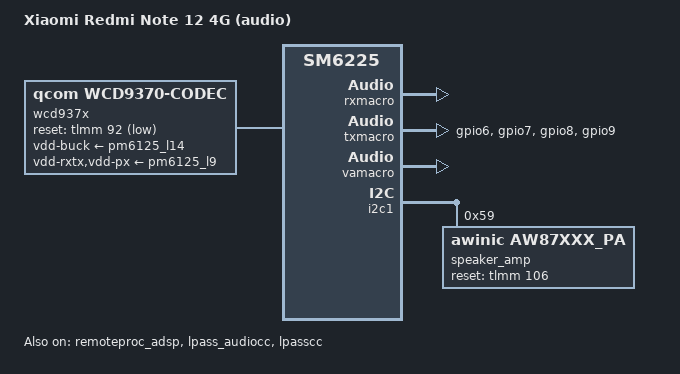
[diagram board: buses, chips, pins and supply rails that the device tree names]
// SPDX-License-Identifier: GPL-2.0-only
/*
 * sm6225-xiaomi-tapas with audio: the ADSP (AudioReach), the LPASS RX/TX/VA
 * macros, the WCD9370 codec on SoundWire and the aw87xxx speaker amplifier,
 * as on the sm6225-mainline spes board (same codec and LPASS pins), with the
 * tapas amplifier and mic bias from the stock device tree.
 *
 * Unlike spes, the tapas ADSP firmware (Android 13 vendor) is AudioReach
 * (SPF): stock talks to it over GPR on the "adsp_apps" channel, and an APR
 * "apr_audio_svc" client never comes up. So the APR services of sm6225.dtsi
 * are replaced by q6apm/q6prm as on qcs6490-audioreach.dtsi; the front ends
 * and DSP graphs come from qcom/sm4250/SM6225-Tapas-tplg.bin (topology/).
 * Kept apart until it is known to come up without hanging the boot.
 */
#include <dt-bindings/soc/qcom,gpr.h>
#include <dt-bindings/sound/qcom,q6afe.h>
#include <dt-bindings/sound/qcom,q6dsp-lpass-ports.h>
#include "sm6225-xiaomi-tapas.dts"

/ {
	model = "Xiaomi Redmi Note 12 4G (audio)";

	sound {
		compatible = "qcom,qrb4210-rb2-sndcard";
		model = "SM6225-Tapas";
		audio-routing =
				"AMIC1", "MIC BIAS1",
				"AMIC2", "MIC BIAS2",
				"AMIC3", "MIC BIAS3",

				"IN1_HPHL", "HPHL_OUT",
				"IN2_HPHR", "HPHR_OUT",
				"IN3_AUX", "AUX_OUT",

				"VA DMIC0", "VA MIC BIAS1",
				"VA DMIC1", "VA MIC BIAS1",
				"VA DMIC2", "VA MIC BIAS3",
				"VA DMIC3", "VA MIC BIAS3",

				"VA SWR_MIC0", "ADC1_OUTPUT",
				"VA SWR_MIC4", "ADC2_OUTPUT",
				"VA SWR_MIC5", "ADC3_OUTPUT",

				"TX SWR_INPUT0", "ADC1_OUTPUT",
				"TX SWR_INPUT4", "ADC2_OUTPUT",

				"Speaker IN", "AUX";

		aux-devs = <&speaker_amp>;

		/* MultiMedia1-3 (hw:0,0-2) come from the topology */

		wcd-playback-dai-link {
			link-name = "WCD Playback";

			cpu {
				sound-dai = <&q6apmbedai RX_CODEC_DMA_RX_0>;
			};

			platform {
				sound-dai = <&q6apm>;
			};

			codec {
				sound-dai = <&wcd937x 0>,
				<&swr1 0>,
				<&rxmacro 0>;
			};
		};


		wcd-capture-dai-link {
			link-name = "WCD Capture";

			cpu {
				sound-dai = <&q6apmbedai TX_CODEC_DMA_TX_3>;
			};

			platform {
				sound-dai = <&q6apm>;
			};

			codec {
				sound-dai = <&wcd937x 1>,
				<&swr0 0>,
				<&txmacro 0>;
			};
		};

		va-dai-link {
			link-name = "VA Capture";

			cpu {
				sound-dai = <&q6apmbedai VA_CODEC_DMA_TX_0>;
			};

			platform {
				sound-dai = <&q6apm>;
			};

			codec {
				sound-dai = <&vamacro 0>;
			};
		};
	};
};

&soc {
	rxmacro: codec@a600000 {
		compatible = "qcom,sm6115-lpass-rx-macro";
		reg = <0x0 0x0a600000 0x0 0x1000>;
		#clock-cells = <0>;
		#sound-dai-cells = <1>;
		clocks = <&q6prmcc LPASS_CLK_ID_RX_CORE_MCLK LPASS_CLK_ATTRIBUTE_COUPLE_NO>,
			 <&q6prmcc LPASS_CLK_ID_RX_CORE_NPL_MCLK LPASS_CLK_ATTRIBUTE_COUPLE_NO>,
			 <&q6prmcc LPASS_HW_DCODEC_VOTE LPASS_CLK_ATTRIBUTE_COUPLE_NO>,
			 <&vamacro>;
		clock-names = "mclk", "npl", "dcodec", "fsgen";
		clock-output-names = "mclk";
		status = "okay";
	};

	txmacro: codec@a620000 {
		compatible = "qcom,sm6115-lpass-tx-macro";
		reg = <0x0 0x0a620000 0x0 0x1000>;
		qcom,dmic-sample-rate = <600000>;
		#clock-cells = <0>;
		#sound-dai-cells = <1>;
		pinctrl-0 = <&lpi_dmic01_active &lpi_dmic23_active>;
		pinctrl-names = "default";
		clocks = <&q6prmcc LPASS_CLK_ID_TX_CORE_MCLK LPASS_CLK_ATTRIBUTE_COUPLE_NO>,
			 <&q6prmcc LPASS_CLK_ID_TX_CORE_NPL_MCLK LPASS_CLK_ATTRIBUTE_COUPLE_NO>,
			 <&q6prmcc LPASS_HW_DCODEC_VOTE LPASS_CLK_ATTRIBUTE_COUPLE_NO>,
			 <&vamacro>;
		clock-names = "mclk", "npl", "dcodec", "fsgen";
		clock-output-names = "mclk";
		status = "okay";
	};

	vamacro: codec@a730000 {
		compatible = "qcom,sm6115-lpass-va-macro";
		reg = <0x0 0x0a730000 0x0 0x1000>;
		qcom,dmic-sample-rate = <600000>;
		#clock-cells = <0>;
		#sound-dai-cells = <1>;
		clocks = <&q6prmcc LPASS_CLK_ID_TX_CORE_MCLK LPASS_CLK_ATTRIBUTE_COUPLE_NO>,
			 <&q6prmcc LPASS_HW_DCODEC_VOTE LPASS_CLK_ATTRIBUTE_COUPLE_NO>,
			 <&q6prmcc LPASS_CLK_ID_TX_CORE_NPL_MCLK LPASS_CLK_ATTRIBUTE_COUPLE_NO>;
		clock-names = "mclk", "dcodec", "npl";
		clock-output-names = "fsgen";
		status = "okay";
	};

	lpass_audiocc: clock-controller@a6a9000 {
		compatible = "qcom,sm6115-lpassaudiocc";
		reg = <0x0 0x0a6a9000 0x0 0x1000>;
		#reset-cells = <1>;

		status = "okay";
	};

	lpasscc: clock-controller@a7ec000 {
		compatible = "qcom,sm6115-lpasscc";
		reg = <0x0 0x0a7ec000 0x0 0x1000>;
		#reset-cells = <1>;

		status = "okay";
	};

	wcd937x: codec {
		compatible = "qcom,wcd9370-codec";
		pinctrl-names = "default";
		pinctrl-0 = <&wcd_reset_n>;
		reset-gpios = <&tlmm 92 GPIO_ACTIVE_LOW>;
		vdd-buck-supply = <&pm6125_l14>;
		vdd-rxtx-supply = <&pm6125_l9>;
		vdd-px-supply = <&pm6125_l9>;
		qcom,micbias1-microvolt = <2700000>;
		qcom,micbias2-microvolt = <2700000>;
		qcom,micbias3-microvolt = <2700000>;
		qcom,rx-device = <&wcd937x_rx>;
		qcom,tx-device = <&wcd937x_tx>;
		#sound-dai-cells = <1>;
	};

	swr0: soundwire@a740000 {
		compatible = "qcom,soundwire-v1.6.0";
		reg = <0x0 0x0a740000 0x0 0x2000>;
		interrupts = <GIC_SPI 296 IRQ_TYPE_LEVEL_HIGH>,
		<GIC_SPI 79 IRQ_TYPE_LEVEL_HIGH>;

		pinctrl-0 = <&lpi_swr_tx_active>;
		pinctrl-names = "default";

		clocks = <&txmacro>;
		clock-names = "iface";

		resets = <&lpasscc 0>;
		reset-names = "swr_audio_cgcr";

		label = "VA_TX";

		qcom,din-ports = <3>;
		qcom,dout-ports = <0>;

		qcom,ports-sinterval-low =
		/bits/ 8 <0x03 0x03 0x03>;
		qcom,ports-offset1 =
		/bits/ 8 <0x01 0x02 0x01>;
		qcom,ports-offset2 =
		/bits/ 8 <0x00 0x00 0x00>;
		qcom,ports-hstart =
		/bits/ 8 <0xff 0xff 0xff>;
		qcom,ports-hstop =
		/bits/ 8 <0xff 0xff 0xff>;
		qcom,ports-word-length =
		/bits/ 8 <0xff 0xff 0xff>;
		qcom,ports-block-pack-mode =
		/bits/ 8 <0xff 0xff 0xff>;
		qcom,ports-block-group-count =
		/bits/ 8 <0xff 0xff 0xff>;
		qcom,ports-lane-control =
		/bits/ 8 <0x00 0x00 0x00>;

		#sound-dai-cells = <1>;
		#address-cells = <2>;
		#size-cells = <0>;

		wcd937x_tx: codec@0,3 {
			compatible = "sdw20217010a00";
			reg = <0 3>;

			/*
			 * WCD9370 TX Port 1 (ADC1)               <=> SWR Port 1
			 * WCD9370 TX Port 2 (ADC2, 3)            <=> SWR Port 1
			 * WCD9370 TX Port 3 (DMIC0,1,2,3 & MBHC) <=> SWR Port 2
			 * WCD9370 TX Port 4 (DMIC4,5,6,7)        <=> SWR Port 3
			 */
			qcom,tx-port-mapping = <1 1 2 3>;

			/*
			 * Static channel mapping between slave and master tx
			 * port channels, in the order of slave port channels
			 * which is adc1, adc2, adc3, mic0, dmic1, mbhc,
			 * dmic2, dmic3, dmic4, dmic5, dmic6, dmic7.
			 */
			qcom,tx-channel-mapping = /bits/ 8
			<1 2 1 1 2 3 3 4 1 2 3 4>;
		};
	};

	swr1: soundwire@a610000 {
		compatible = "qcom,soundwire-v1.6.0";
		reg = <0x0 0x0a610000 0x0 0x2000>;
		interrupts = <GIC_SPI 297 IRQ_TYPE_LEVEL_HIGH>;

		pinctrl-0 = <&lpi_swr_rx_active>;
		pinctrl-names = "default";

		clocks = <&rxmacro>;
		clock-names = "iface";

		resets = <&lpass_audiocc 0>;
		reset-names = "swr_audio_cgcr";

		label = "RX";

		qcom,din-ports = <0>;
		qcom,dout-ports = <5>;

		qcom,ports-sinterval-low =
		/bits/ 8 <0x03 0x1f 0x1f 0x07 0x00>;
		qcom,ports-offset1 =
		/bits/ 8 <0x00 0x00 0x0b 0x01 0x00>;
		qcom,ports-offset2 =
		/bits/ 8 <0x00 0x00 0x0b 0x00 0x00>;
		qcom,ports-hstart =
		/bits/ 8 <0xff 0x03 0xff 0xff 0xff>;
		qcom,ports-hstop =
		/bits/ 8 <0xff 0x06 0xff 0xff 0xff>;
		qcom,ports-word-length =
		/bits/ 8 <0x01 0x07 0x04 0xff 0xff>;
		qcom,ports-block-pack-mode =
		/bits/ 8 <0xff 0x00 0x01 0xff 0xff>;
		qcom,ports-block-group-count =
		/bits/ 8 <0xff 0xff 0xff 0xff 0x00>;
		qcom,ports-lane-control =
		/bits/ 8 <0x01 0x00 0x00 0x00 0x00>;

		#sound-dai-cells = <1>;
		#address-cells = <2>;
		#size-cells = <0>;

		wcd937x_rx: codec@0,4 {
			compatible = "sdw20217010a00";
			reg = <0 4>;
			qcom,rx-port-mapping = <1 2 3 4 5>;
			qcom,rx-channel-mapping = /bits/ 8
			<1 2 1 1 2 1 1 2>;
		};
	};
};

&lpass_tlmm {
	lpi_swr_tx_active: lpi-swr-tx-active-state {
		clk-pins {
			pins = "gpio0";
			function = "swr_tx_clk";
			bias-disable;
			drive-strength = <10>;
			slew-rate = <3>;
		};

		data-pins {
			pins = "gpio1", "gpio2";
			function = "swr_tx_data";
			bias-bus-hold;
			drive-strength = <10>;
			slew-rate = <3>;
		};
	};

	lpi_swr_tx_sleep: lpi-swr-tx-sleep-state {
		clk-pins {
			pins = "gpio0";
			function = "swr_tx_clk";
			bias-pull-down;
			drive-strength = <10>;
			input-enable;
		};

		data-pins {
			pins = "gpio1", "gpio2";
			function = "swr_tx_data";
			bias-bus-hold;
			drive-strength = <10>;
			input-enable;
		};
	};

	lpi_swr_rx_active: lpi-swr-rx-active-state {
		clk-pins {
			pins = "gpio3";
			function = "swr_rx_clk";
			bias-disable;
			drive-strength = <10>;
			slew-rate = <3>;
		};

		data-pins {
			pins = "gpio4", "gpio5";
			function = "swr_rx_data";
			bias-bus-hold;
			drive-strength = <10>;
			slew-rate = <3>;
		};
	};

	lpi_swr_rx_sleep: lpi-swr-rx-sleep-state {
		clk-pins {
			pins = "gpio3";
			function = "swr_rx_clk";
			bias-pull-down;
			drive-strength = <10>;
			input-enable;
		};

		data-pins {
			pins = "gpio4", "gpio5";
			function = "swr_rx_data";
			bias-bus-hold;
			drive-strength = <10>;
			input-enable;
		};
	};

	lpi_dmic01_active: lpi-dmic01-active-state {
		clk-pins {
			pins = "gpio6";
			function = "dmic01_clk";
			drive-strength = <8>;
			output-high;
		};

		data-pins {
			pins = "gpio7";
			function = "dmic01_data";
			drive-strength = <8>;
			input-enable;
		};
	};

	lpi_dmic23_active: lpi-dmic23-active-state {
		clk-pins {
			pins = "gpio8";
			function = "dmic23_clk";
			drive-strength = <8>;
			output-high;
		};

		data-pins {
			pins = "gpio9";
			function = "dmic23_data";
			drive-strength = <8>;
			input-enable;
		};
	};
};

&lpass_tlmm {
	clocks = <&q6prmcc LPASS_HW_DCODEC_VOTE LPASS_CLK_ATTRIBUTE_COUPLE_NO>;
};

&remoteproc_adsp {
	firmware-name = "qcom/sm6225/xiaomi/tapas/adsp.mdt";
	status = "okay";

	glink-edge {
		/delete-node/ apr;

		gpr {
			compatible = "qcom,gpr";
			qcom,glink-channels = "adsp_apps";
			qcom,domain = <GPR_DOMAIN_ID_ADSP>;
			qcom,intents = <512 20>;
			#address-cells = <1>;
			#size-cells = <0>;

			q6apm: service@1 {
				compatible = "qcom,q6apm";
				reg = <GPR_APM_MODULE_IID>;
				#sound-dai-cells = <0>;
				qcom,protection-domain = "avs/audio", "msm/adsp/audio_pd";

				q6apmdai: dais {
					compatible = "qcom,q6apm-dais";
					/* stock msm-audio-ion */
					iommus = <&apps_smmu 0x1c1 0x0>;
				};

				q6apmbedai: bedais {
					compatible = "qcom,q6apm-lpass-dais";
					#sound-dai-cells = <1>;
				};
			};

			q6prm: service@2 {
				compatible = "qcom,q6prm";
				reg = <GPR_PRM_MODULE_IID>;
				qcom,protection-domain = "avs/audio", "msm/adsp/audio_pd";

				q6prmcc: clock-controller {
					compatible = "qcom,q6prm-lpass-clocks";
					#clock-cells = <2>;
				};
			};
		};
	};
};

&i2c1 {
	/* Stock aw87xxx_pa_59; its profiles come from aw87xxx_acf.bin */
	speaker_amp: audio-amplifier@59 {
		compatible = "awinic,aw87xxx_pa";
		reg = <0x59>;
		dev_index = <0>;
		reset-gpio = <&tlmm 106 GPIO_ACTIVE_HIGH>;
		sound-name-prefix = "Speaker";
		#sound-dai-cells = <0>;
	};
};

&tlmm {
	wcd_reset_n: wcd-reset-n-active-state {
		pins = "gpio92";
		function = "gpio";
		drive-strength = <16>;
		output-high;
	};
};
